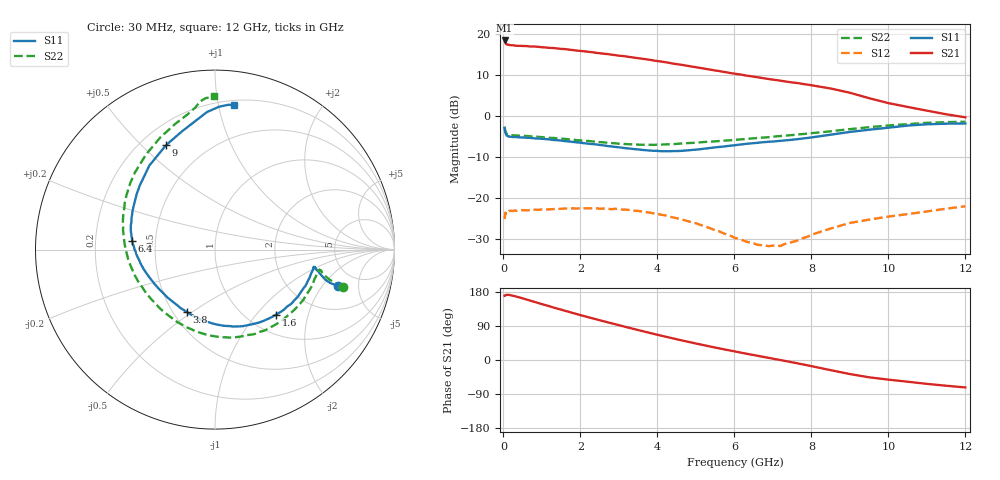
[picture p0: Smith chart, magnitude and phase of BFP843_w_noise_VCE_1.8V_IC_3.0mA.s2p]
! Infineon Technologies  Discrete & RF Semiconductors
! BFP843
! VCE =  1.8 V,  IC =  3.0 mA
! Common Emitter S-Parameters:  Aug 2013
# GHz  S  MA  R  50
!  f  S11  S21  S12  S22
! GHz  MAG  ANG  MAG  ANG  MAG  ANG  MAG  ANG
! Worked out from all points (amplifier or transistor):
!   103 points, 30 MHz to 12 GHz, reference 50 ohm
!   highest |S21| = 18.4 dB at 30 MHz (marker M1)
!   |S21| within 3 dB of that: start of sweep to 2.401 GHz
!   unconditionally stable (mu >= 1): 153.4 MHz to 902.9 MHz; 2.688 GHz to 10.98 GHz
!   at 400 MHz: K = 1.01, MAG = 19.3 dB, |S12| = -23.0 dB
!   at 3.7 GHz: K = 1.14, MAG = 16.3 dB, |S12| = -23.3 dB
!   at 12 GHz: K = 0.83, MSG = 10.8 dB, |S12| = -21.9 dB
!   lowest NFmin = 1.03 dB at 450 MHz
!   S11 on the Smith chart (normalised r, x): 30 MHz: 3.48, -2.94; 1.6 GHz: 1.33, -1.28; 3.8 GHz: 0.58, -0.48; 6.4 GHz: 0.37, +0.05; 9 GHz: 0.30, +0.59; 12 GHz: 0.23, +1.11
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0.03  0.7177 -16.6  8.326 169.3  0.0561 38.3  0.7433 -16.2
0.05  0.6359 -15.2  7.8 171.3  0.0669 25.9  0.6643 -14.8
0.07  0.5981 -12.8  7.504 171.7  0.0667 15.2  0.6223 -13.0
0.13  0.5701 -10.3  7.366 172.2  0.0691 10.6  0.5918 -11.1
0.8  0.537 -24.2  7.027 153.5  0.0727 -1.5  0.5659 -29.8
1.3  0.5122 -38.2  6.739 138.5  0.0741 -5.2  0.5424 -47.5
1.6  0.4966 -46.9  6.536 129.8  0.0752 -7.9  0.529 -58.2
2.1  0.4681 -61.7  6.144 115.7  0.0758 -13.5  0.5024 -76.0
2.5  0.446 -73.6  5.826 104.9  0.0747 -17.7  0.4835 -89.9
2.9  0.4226 -85.7  5.529 94.5  0.0747 -22.4  0.4673 -103.6
3.8  0.3815 -114.4  4.846 71.5  0.067 -33.0  0.4484 -134.4
4.1  0.3742 -124.5  4.612 64.2  0.0631 -36.7  0.4507 -144.0
4.6  0.3774 -141.3  4.228 52.5  0.0559 -41.1  0.464 -157.7
5  0.3912 -153.5  3.936 43.5  0.0498 -43.6  0.4758 -167.4
6.1  0.4486 179.7  3.233 20.8  0.0323 -39.0  0.5182 170.0
6.4  0.4643 173.8  3.071 14.9  0.029 -32.4  0.5327 164.4
7.5  0.5164 150.9  2.569 -6.1  0.0295 0.1  0.5888 145.1
8.5  0.5945 127.9  2.168 -26.8  0.043 9.6  0.6544 126.0
9  0.6422 115.2  1.924 -37.1  0.0502 7.9  0.6947 116.1
9.5  0.6835 105.7  1.652 -45.7  0.0551 5.1  0.7338 107.7
10.5  0.768 93.3  1.293 -57.3  0.0643 0.6  0.7989 97.9
12  0.8136 82.5  0.967 -72.4  0.0801 -7.5  0.8543 90.5
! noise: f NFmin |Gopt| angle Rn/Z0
0.45  1.03  0.27  8  0.03
0.9  1.05  0.28  18  0.05
1.5  1.1  0.27  30  0.12
1.9  1.13  0.26  40  0.21
2.4  1.19  0.25  50  0.29
3.5  1.32  0.2  69  0.4
5.5  1.54  0.16  173  0.49
10  2.44  0.54  -80  0.55
